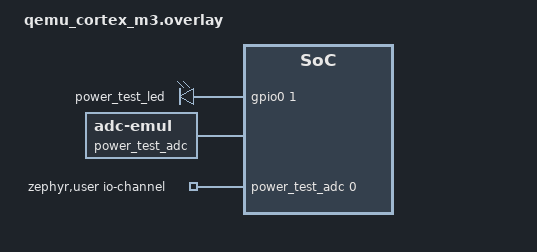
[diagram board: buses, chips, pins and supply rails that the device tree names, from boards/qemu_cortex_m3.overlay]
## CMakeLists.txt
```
# SPDX-License-Identifier: Apache-2.0

cmake_minimum_required(VERSION 3.20.0)
find_package(Zephyr REQUIRED HINTS $ENV{ZEPHYR_BASE})
project(power_logic_test)

target_include_directories(app PRIVATE ${CMAKE_CURRENT_SOURCE_DIR}/../../src)
target_sources(app PRIVATE
  src/main.c
  ../../src/battery/battery_state.c
  ../../src/led/led_policy.c
  ../../src/battery/app_battery.c
  ../../src/led/app_led.c
)
```

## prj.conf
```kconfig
CONFIG_ZTEST=y
CONFIG_GPIO=y
CONFIG_ADC=y
CONFIG_ADC_EMUL=y
```

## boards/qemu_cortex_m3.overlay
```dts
/* SPDX-License-Identifier: Apache-2.0 */

#include <zephyr/dt-bindings/adc/adc.h>
#include <zephyr/dt-bindings/gpio/gpio.h>

/ {
	aliases {
		led0 = &power_test_led;
	};

	leds {
		compatible = "gpio-leds";

		power_test_led: power-test-led {
			gpios = <&gpio0 1 GPIO_ACTIVE_HIGH>;
		};
	};

	power_test_adc: adc {
		compatible = "zephyr,adc-emul";
		nchannels = <1>;
		ref-internal-mv = <600>;
		#io-channel-cells = <1>;
		#address-cells = <1>;
		#size-cells = <0>;
		status = "okay";

		channel@0 {
			reg = <0>;
			zephyr,gain = "ADC_GAIN_1_6";
			zephyr,reference = "ADC_REF_INTERNAL";
			zephyr,vref-mv = <600>;
			zephyr,acquisition-time =
				<ADC_ACQ_TIME(ADC_ACQ_TIME_MICROSECONDS, 40)>;
			zephyr,resolution = <12>;
			zephyr,oversampling = <8>;
		};
	};

	zephyr,user {
		io-channels = <&power_test_adc 0>;
	};
};
```

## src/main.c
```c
/* SPDX-License-Identifier: Apache-2.0 */

#include <stddef.h>
#include <stdint.h>
#include <errno.h>
#include <limits.h>

#include <zephyr/ztest.h>

#include "app_config.h"
#include "battery/battery_state.h"
#include "battery/app_battery.h"
#include "led/app_led.h"
#include "led/led_policy.h"

#ifdef HOST_TEST
#include "../host/adapter_shim.h"
#include <zephyr/device.h>
#include <zephyr/drivers/gpio.h>

extern struct device host_adc_device;
extern struct device host_gpio_device;
#endif

ZTEST(battery_state, test_exact_threshold_boundaries)
{
	zassert_false(battery_low_next(false, 2600));
	zassert_true(battery_low_next(false, 2599));
	zassert_true(battery_low_next(true, 2699));
	zassert_false(battery_low_next(true, 2700));
}

ZTEST(battery_state, test_macro_relative_boundaries)
{
	zassert_false(battery_low_next(false, BATTERY_LOW_THRESHOLD_MV));
	zassert_true(battery_low_next(false, BATTERY_LOW_THRESHOLD_MV - 1));
	zassert_true(battery_low_next(true, BATTERY_LOW_THRESHOLD_MV +
					 BATTERY_LOW_HYSTERESIS_MV - 1));
	zassert_false(battery_low_next(true, BATTERY_LOW_THRESHOLD_MV +
					  BATTERY_LOW_HYSTERESIS_MV));
}

ZTEST(led_policy, test_receiving_has_priority_over_low_battery)
{
	zassert_equal(led_policy_select(false, false), LED_MODE_OFF);
	zassert_equal(led_policy_select(false, true), LED_MODE_LOW_BATTERY);
	zassert_equal(led_policy_select(true, true), LED_MODE_RECEIVING);
}

ZTEST(led_policy, test_low_pattern_exact_steps)
{
	static const bool expected_on[] = {
		true, false, true, false, true, false, true, false,
	};
	static const uint32_t expected_delay[] = {
		LED_LOW_SHORT_ON_MS,
		LED_LOW_SHORT_OFF_MS,
		LED_LOW_SHORT_ON_MS,
		LED_LOW_SHORT_OFF_MS,
		LED_LOW_SHORT_ON_MS,
		LED_LOW_SHORT_OFF_MS,
		LED_LOW_LONG_ON_MS,
		0U,
	};
	static const bool expected_complete[] = {
		false, false, false, false, false, false, false, true,
	};
	struct led_low_pattern pattern;

	led_low_pattern_start(&pattern);
	for (size_t i = 0; i < sizeof(expected_on) / sizeof(expected_on[0]); ++i) {
		const struct led_pattern_step step = led_low_pattern_next(&pattern);

		zassert_equal(step.on, expected_on[i], "step %u", (unsigned int)i);
		zassert_equal(step.delay_ms, expected_delay[i], "step %u",
			      (unsigned int)i);
		zassert_equal(step.round_complete, expected_complete[i], "step %u",
			      (unsigned int)i);
	}

	{
		const struct led_pattern_step restarted = led_low_pattern_next(&pattern);

		zassert_true(restarted.on);
		zassert_equal(restarted.delay_ms, LED_LOW_SHORT_ON_MS);
	}
}

ZTEST(led_policy, test_short_alert_interval_never_underflows)
{
	struct led_low_pattern pattern;
	struct led_pattern_step step = { 0 };

	led_low_pattern_start(&pattern);
	for (int i = 0; i < 8; ++i) {
		step = led_low_pattern_next(&pattern);
	}

	zassert_false(step.on);
	zassert_true(step.round_complete);
	zassert_equal(led_deadline_remaining_ms(1, 1100), 0U);
	zassert_true(led_low_pattern_next(&pattern).on);
}

ZTEST(led_policy, test_deadline_remaining_clamps_safely)
{
	zassert_equal(led_deadline_remaining_ms(60000, 1275), 58725U);
	zassert_equal(led_deadline_remaining_ms(100, 100), 0U);
	zassert_equal(led_deadline_remaining_ms(99, 100), 0U);
	zassert_equal(led_deadline_remaining_ms(INT64_MAX, 0), UINT32_MAX);
}

#ifdef HOST_TEST
ZTEST(app_led, test_adapter_lifecycle_and_mode_handoffs)
{
	host_power_adapter_reset();
	host_gpio_device.ready = false;
	zassert_equal(app_led_init(), -ENODEV);
	zassert_equal(host_power_adapter.gpio_configure_count, 0);

	host_gpio_device.ready = true;
	host_power_adapter.gpio_configure_result = -EIO;
	zassert_equal(app_led_init(), -EIO);
	host_power_adapter.gpio_configure_result = 0;
	zassert_equal(app_led_init(), 0);
	zassert_equal(host_power_adapter.gpio_configure_flags, GPIO_OUTPUT_INACTIVE);
	zassert_equal(host_power_adapter.gpio_node_id, HOST_DT_ALIAS_LED0);
	zassert_equal(host_power_adapter.gpio_prop_id, HOST_DT_PROP_GPIOS);

	app_led_set_battery_low(true);
	zassert_equal(host_pending_work_with_delay(0U), 1);
	zassert_true(host_run_work_with_delay(0U));
	zassert_equal(host_power_adapter.gpio_values[0], 1);
	zassert_equal(host_pending_work_with_delay(LED_LOW_SHORT_ON_MS), 1);
	zassert_true(host_run_work_with_delay(LED_LOW_SHORT_ON_MS));
	zassert_equal(host_power_adapter.gpio_values[1], 0);

	app_led_set_receiving(true);
	zassert_true(host_run_work_with_delay(0U));
	zassert_equal(host_power_adapter.gpio_values[2], 1);
	zassert_equal(host_pending_work_with_delay(LED_RX_BLINK_INTERVAL_MS), 1);
	zassert_true(host_run_work_with_delay(LED_RX_BLINK_INTERVAL_MS));
	zassert_equal(host_power_adapter.gpio_values[3], 0);

	app_led_set_receiving(false);
	zassert_true(host_run_work_with_delay(0U));
	zassert_equal(host_power_adapter.gpio_values[4], 0);
	zassert_equal(host_pending_work_with_delay(BATTERY_LOW_ALERT_INTERVAL_MS), 1);
	zassert_true(host_run_work_with_delay(BATTERY_LOW_ALERT_INTERVAL_MS));
	zassert_equal(host_power_adapter.gpio_values[5], 1);
	zassert_equal(host_pending_work_with_delay(LED_LOW_SHORT_ON_MS), 1);

	app_led_force_off();
	zassert_equal(host_power_adapter.gpio_values[6], 0);
	zassert_equal(host_pending_work_with_delay(LED_LOW_SHORT_ON_MS), 0);
	zassert_equal(host_pending_work_with_delay(LED_RX_BLINK_INTERVAL_MS), 0);

	app_led_set_battery_low(true);
	zassert_true(host_run_work_with_delay(0U));
	zassert_equal(host_power_adapter.gpio_values[7], 1);
	app_led_force_off();
	zassert_true(host_power_adapter.spinlock_acquire_count > 0);
	zassert_equal(host_power_adapter.spinlock_depth, 0);
	zassert_equal(host_power_adapter.spinlock_max_depth, 1);
	zassert_equal(host_power_adapter.spinlock_violation_count, 0);
}

ZTEST(app_led, test_low_battery_deadline_accounts_for_late_handlers)
{
	app_led_force_off();
	host_power_adapter_reset();
	app_led_set_battery_low(true);
	zassert_true(host_run_work_with_delay(0U));

	for (int i = 0; i < 6; ++i) {
		host_advance_time(LED_LOW_SHORT_ON_MS + 25U);
		zassert_true(host_run_work_with_delay(0U));
	}
	host_advance_time(LED_LOW_LONG_ON_MS + 25U);
	zassert_true(host_run_work_with_delay(0U));

	zassert_equal(host_monotonic_ms(), 1275);
	zassert_equal(host_power_adapter.gpio_values[7], 0);
	zassert_equal(host_pending_work_with_delay(58725U), 1);
	zassert_equal(host_power_adapter.spinlock_depth, 0);
	zassert_equal(host_power_adapter.spinlock_max_depth, 1);
	zassert_equal(host_power_adapter.spinlock_violation_count, 0);
	app_led_force_off();
}

ZTEST(app_led, test_force_off_ignores_setter_during_cancel)
{
	app_led_force_off();
	host_power_adapter_reset();
	app_led_set_battery_low(true);
	zassert_equal(host_pending_work_with_delay(0U), 1);

	host_power_adapter.setter_during_led_cancel = true;
	app_led_force_off();
	zassert_equal(host_pending_work_with_delay(0U), 0);
	host_power_adapter.setter_during_led_cancel = false;

	app_led_set_battery_low(true);
	zassert_equal(host_pending_work_with_delay(0U), 1);
	zassert_true(host_run_work_with_delay(0U));
	zassert_equal(host_power_adapter.gpio_values[1], 1);
	app_led_force_off();
}

ZTEST(app_battery, test_adapter_lifecycle_sampling_and_suspend)
{
	host_power_adapter_reset();
	zassert_equal(app_battery_last_mv(), -ENODATA);
	zassert_false(app_battery_is_low());

	host_adc_device.ready = false;
	zassert_equal(app_battery_init(), -ENODEV);
	host_adc_device.ready = true;
	host_power_adapter.adc_setup_result = -EIO;
	zassert_equal(app_battery_init(), -EIO);
	host_power_adapter.adc_setup_result = 0;
	zassert_equal(app_battery_init(), 0);
	zassert_equal(host_pending_work_with_delay(0U), 1);
	zassert_equal(host_power_adapter.adc_node_id, HOST_DT_PATH_ZEPHYR_USER);

	host_adc_block_next_read();
	zassert_true(host_start_work_thread_with_delay(0U));
	zassert_true(host_wait_adc_read_blocked());
	zassert_true(host_start_battery_suspend_thread());
	zassert_true(host_wait_cancel_sync_waiting());
	host_release_adc_read();
	zassert_true(host_join_concurrency_threads());
	zassert_equal(app_battery_last_mv(), -ENODATA);
	zassert_equal(host_pending_work_with_delay(BATTERY_SAMPLE_INTERVAL_MS), 0);
	zassert_equal(host_power_adapter.work_cancel_while_running_count, 1);
	zassert_equal(host_power_adapter.work_self_cancel_violation_count, 0);
	zassert_equal(app_battery_init(), 0);
	zassert_equal(host_pending_work_with_delay(0U), 1);

	host_power_adapter.adc_raw_value = 1774;
	host_power_adapter.adc_converted_mv = 1299;
	zassert_true(host_run_work_with_delay(0U));
	zassert_equal(host_power_adapter.adc_resolution, 12);
	zassert_equal(host_power_adapter.adc_oversampling, 8);
	zassert_equal(app_battery_last_mv(), 2598);
	zassert_true(app_battery_is_low());
	zassert_equal(host_pending_work_with_delay(BATTERY_SAMPLE_INTERVAL_MS), 1);

	host_power_adapter.adc_read_result = -EIO;
	zassert_true(host_run_work_with_delay(BATTERY_SAMPLE_INTERVAL_MS));
	zassert_equal(app_battery_last_mv(), 2598);
	zassert_true(app_battery_is_low());
	zassert_equal(host_pending_work_with_delay(BATTERY_SAMPLE_INTERVAL_MS), 1);

	host_power_adapter.adc_read_result = 0;
	host_power_adapter.adc_convert_result = -ENOTSUP;
	zassert_true(host_run_work_with_delay(BATTERY_SAMPLE_INTERVAL_MS));
	zassert_equal(app_battery_last_mv(), 2598);
	zassert_true(app_battery_is_low());

	host_power_adapter.adc_convert_result = 0;
	host_power_adapter.adc_converted_mv = 1350;
	zassert_true(host_run_work_with_delay(BATTERY_SAMPLE_INTERVAL_MS));
	zassert_equal(app_battery_last_mv(), 2700);
	zassert_false(app_battery_is_low());

	app_battery_suspend();
	zassert_equal(host_pending_work_with_delay(BATTERY_SAMPLE_INTERVAL_MS), 0);
	zassert_false(host_run_work_with_delay(BATTERY_SAMPLE_INTERVAL_MS));
	zassert_true(host_power_adapter.spinlock_acquire_count > 0);
	zassert_equal(host_power_adapter.spinlock_depth, 0);
	zassert_equal(host_power_adapter.spinlock_max_depth, 1);
	zassert_equal(host_power_adapter.spinlock_violation_count, 0);
	app_led_force_off();
}
#endif

ZTEST_SUITE(battery_state, NULL, NULL, NULL, NULL, NULL);
ZTEST_SUITE(led_policy, NULL, NULL, NULL, NULL, NULL);
#ifdef HOST_TEST
ZTEST_SUITE(app_led, NULL, NULL, NULL, NULL, NULL);
ZTEST_SUITE(app_battery, NULL, NULL, NULL, NULL, NULL);
#endif
```
